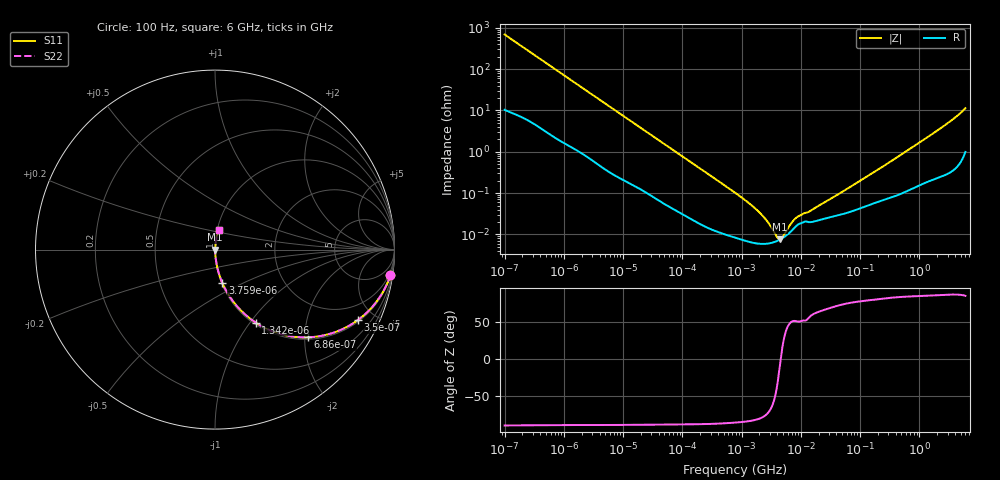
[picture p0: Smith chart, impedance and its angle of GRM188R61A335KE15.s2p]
!Murata Part Number: GRM188R61A335KE15
!These Parameters are Measured in Series Mode Connection
!Data Generated on Mar 30, 2021
!  o--ll--o
!Port1  Port2
!  o------o
!Operation Temp=25[degC], DC Bias Voltage=0[V]
!Freq. Start=100[Hz] Stop=6[GHz] 401[Steps]
# Hz S RI R 50
!Freq.(Hz) S11(Real) S11(Imag) S21(Real) S21(Imag) S12(Real) S12(Imag) S22(Real) S22(Imag)
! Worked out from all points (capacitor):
!   401 points, 100 Hz to 6 GHz, reference 50 ohm
!   read as one part in series: C = 2.3 uF near 109 Hz
!   lowest |Z| = 7.57 mohm at 4.441 MHz (marker M1)
!   series resonance near 4.58 MHz, so ESL is about 530 pH
!   S11 on the Smith chart (normalised r, x): 100 Hz: 1, -14; 350 Hz: 1.09, -4.01; 686 Hz: 1.05, -2.07; 1.342 kHz: 1.03, -1.07; 3.759 kHz: 1.01, -0.39; 6 GHz: 1.02, +0.23
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100  0.9775 -0.1411  0.0225 0.1411  0.0225 0.1411  0.9775 -0.1411
205  0.9162 -0.2676  0.0838 0.2676  0.0838 0.2676  0.9162 -0.2676
350  0.7959 -0.3926  0.2041 0.3926  0.2041 0.3926  0.7959 -0.3926
686  0.5165 -0.4889  0.4835 0.4889  0.4835 0.4889  0.5165 -0.4889
938  0.3684 -0.4712  0.6316 0.4712  0.6316 0.4712  0.3684 -0.4712
1342  0.2269 -0.4069  0.7731 0.4069  0.7731 0.4069  0.2269 -0.4069
2008  0.1202 -0.3128  0.8798 0.3128  0.8798 0.3128  0.1202 -0.3128
3759  0.0406 -0.185  0.9594 0.185  0.9594 0.185  0.0406 -0.185
10066  0.00739 -0.0727  0.9926 0.0727  0.9926 0.0727  0.00739 -0.0727
40335  0.00101 -0.0188  0.999 0.0188  0.999 0.0188  0.00101 -0.0188
774597  8.45e-05 -0.00102  0.9999 0.00102  0.9999 0.00102  8.45e-05 -0.00102
1813585  6.03e-05 -0.000386  0.9999 0.000386  0.9999 0.000386  6.03e-05 -0.000386
2594782  5.92e-05 -0.000217  0.9999 0.000217  0.9999 0.000217  5.92e-05 -0.000217
3712478  6.66e-05 -7.6e-05  0.9999 7.6e-05  0.9999 7.6e-05  6.66e-05 -7.6e-05
4440638  7.49e-05 -1.09e-05  0.9999 1.09e-05  0.9999 1.09e-05  7.49e-05 -1.09e-05
5311619  8.76e-05 5.24e-05  0.9999 -5.24e-05  0.9999 -5.24e-05  8.76e-05 5.24e-05
7266822  0.000129 0.000159  0.9999 -0.000159  0.9999 -0.000159  0.000129 0.000159
8692127  0.000167 0.000204  0.9998 -0.000204  0.9998 -0.000204  0.000167 0.000204
1.555665e7  0.0002 0.000341  0.9998 -0.000341  0.9998 -0.000341  0.0002 0.000341
3.124326e8  0.000784 0.00549  0.9992 -0.00549  0.9992 -0.00549  0.000784 0.00549
2.34314e9  0.00391 0.0377  0.9961 -0.0377  0.9961 -0.0377  0.00391 0.0377
6e9  0.0221 0.1095  0.9779 -0.1095  0.9779 -0.1095  0.0221 0.1095
